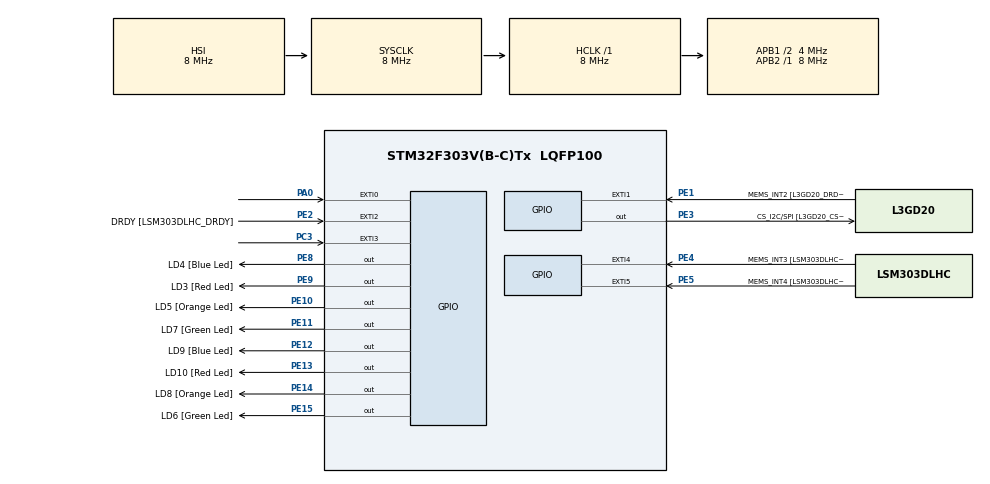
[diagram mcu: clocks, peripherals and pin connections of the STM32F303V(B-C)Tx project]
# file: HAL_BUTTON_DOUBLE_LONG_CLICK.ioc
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Mcu.Family=STM32F3
Mcu.Name=STM32F303V(B-C)Tx
Mcu.Package=LQFP100
NVIC.EXTI0_IRQn=true\:0\:1\:false\:false\:true\:true\:true\:true
NVIC.EXTI3_IRQn=true\:0\:0\:false\:false\:true\:true\:true\:true
NVIC.PriorityGroup=NVIC_PRIORITYGROUP_0
NVIC.TIM2_IRQn=true\:0\:3\:true\:false\:true\:true\:true\:true
NVIC.TIM4_IRQn=true\:0\:2\:false\:false\:true\:true\:true\:true
PA0.GPIO_PuPd=GPIO_NOPULL
PA0.Signal=GPXTI0
PA11.GPIO_Label=DM
PA11.Signal=USB_DM
PA12.GPIO_Label=DP
PA12.Signal=USB_DP
PA13.GPIO_Label=SWDIO
PA13.Signal=SYS_JTMS-SWDIO
PA14.GPIO_Label=SWCLK
PA14.Signal=SYS_JTCK-SWCLK
PA5.GPIO_Label=SPI1_SCK [L3GD20_SCL/SPC]
PA5.GPIO_Mode=GPIO_MODE_AF_PP
PA5.GPIO_PuPd=GPIO_NOPULL
PA5.GPIO_Speed=GPIO_SPEED_FREQ_LOW
PA5.Signal=SPI1_SCK
PA6.GPIO_Label=SPI1_MISO [L3GD20_SA0/SDO]
PA6.GPIO_Mode=GPIO_MODE_AF_PP
PA6.GPIO_PuPd=GPIO_NOPULL
PA6.GPIO_Speed=GPIO_SPEED_FREQ_LOW
PA6.Signal=SPI1_MISO
PA7.GPIO_Label=SPI1_MISO [L3GD20_SDA/SDI/SDO]
PA7.GPIO_Mode=GPIO_MODE_AF_PP
PA7.GPIO_PuPd=GPIO_NOPULL
PA7.GPIO_Speed=GPIO_SPEED_FREQ_LOW
PA7.Signal=SPI1_MOSI
PB3.GPIO_Label=SWO
PB3.Signal=SYS_JTDO-TRACESWO
PB6.GPIO_FM6=__NULL
PB6.GPIO_Label=I2C1_SCL [LSM303DLHC_SCL]
PB6.GPIO_Mode=GPIO_MODE_AF_OD
PB6.GPIO_PuPd=GPIO_NOPULL
PB6.GPIO_Speed=GPIO_SPEED_FREQ_LOW
PB6.Signal=I2C1_SCL
PB7.GPIO_FM7=__NULL
PB7.GPIO_Label=I2C1_SDA [LSM303DLHC_SDA]
PB7.GPIO_Mode=GPIO_MODE_AF_OD
PB7.GPIO_PuPd=GPIO_NOPULL
PB7.GPIO_Speed=GPIO_SPEED_FREQ_LOW
PB7.Signal=I2C1_SDA
PC14-OSC32_IN.GPIO_Label=OSC32_IN
PC14-OSC32_IN.Signal=RCC_OSC32_IN
PC15-OSC32_OUT.GPIO_Label=OSC32_OUT
PC15-OSC32_OUT.Signal=RCC_OSC32_OUT
PC3.Signal=GPXTI3
PE1.GPIO_Label=MEMS_INT2 [L3GD20_DRDY/INT2]
PE1.GPIO_ModeDefaultEXTI=GPIO_MODE_EVT_RISING
PE1.GPIO_PuPd=GPIO_NOPULL
PE1.Signal=GPXTI1
PE10.GPIO_Label=LD5 [Orange Led]
PE10.GPIO_ModeDefaultOutputPP=GPIO_MODE_OUTPUT_PP
PE10.GPIO_PuPd=GPIO_NOPULL
PE10.GPIO_Speed=GPIO_SPEED_FREQ_LOW
PE10.Signal=GPIO_Output
PE11.GPIO_Label=LD7 [Green Led]
PE11.GPIO_ModeDefaultOutputPP=GPIO_MODE_OUTPUT_PP
PE11.GPIO_PuPd=GPIO_NOPULL
PE11.GPIO_Speed=GPIO_SPEED_FREQ_LOW
PE11.Signal=GPIO_Output
PE12.GPIO_Label=LD9 [Blue Led]
PE12.GPIO_ModeDefaultOutputPP=GPIO_MODE_OUTPUT_PP
PE12.GPIO_PuPd=GPIO_NOPULL
PE12.GPIO_Speed=GPIO_SPEED_FREQ_LOW
PE12.Signal=GPIO_Output
PE13.GPIO_Label=LD10 [Red Led]
PE13.GPIO_ModeDefaultOutputPP=GPIO_MODE_OUTPUT_PP
PE13.GPIO_PuPd=GPIO_NOPULL
PE13.GPIO_Speed=GPIO_SPEED_FREQ_LOW
PE13.Signal=GPIO_Output
PE14.GPIO_Label=LD8 [Orange Led]
PE14.GPIO_ModeDefaultOutputPP=GPIO_MODE_OUTPUT_PP
PE14.GPIO_PuPd=GPIO_NOPULL
PE14.GPIO_Speed=GPIO_SPEED_FREQ_LOW
PE14.Signal=GPIO_Output
PE15.GPIO_Label=LD6 [Green Led]
PE15.GPIO_ModeDefaultOutputPP=GPIO_MODE_OUTPUT_PP
PE15.GPIO_PuPd=GPIO_NOPULL
PE15.GPIO_Speed=GPIO_SPEED_FREQ_LOW
PE15.Signal=GPIO_Output
PE2.GPIO_Label=DRDY [LSM303DLHC_DRDY]
PE2.GPIO_ModeDefaultEXTI=GPIO_MODE_EVT_RISING
PE2.GPIO_PuPd=GPIO_NOPULL
PE2.Signal=GPXTI2
PE3.GPIO_Label=CS_I2C/SPI [L3GD20_CS_I2C/SPI]
PE3.GPIO_ModeDefaultOutputPP=GPIO_MODE_OUTPUT_PP
PE3.GPIO_PuPd=GPIO_NOPULL
PE3.GPIO_Speed=GPIO_SPEED_FREQ_LOW
PE3.Signal=GPIO_Output
PE4.GPIO_Label=MEMS_INT3 [LSM303DLHC_INT1]
PE4.GPIO_ModeDefaultEXTI=GPIO_MODE_EVT_RISING
PE4.GPIO_PuPd=GPIO_NOPULL
PE4.Signal=GPXTI4
PE5.GPIO_Label=MEMS_INT4 [LSM303DLHC_INT2]
PE5.GPIO_ModeDefaultEXTI=GPIO_MODE_EVT_RISING
PE5.GPIO_PuPd=GPIO_NOPULL
PE5.Signal=GPXTI5
PE8.GPIO_Label=LD4 [Blue Led]
PE8.GPIO_ModeDefaultOutputPP=GPIO_MODE_OUTPUT_PP
PE8.GPIO_PuPd=GPIO_NOPULL
PE8.GPIO_Speed=GPIO_SPEED_FREQ_LOW
PE8.Signal=GPIO_Output
PE9.GPIO_Label=LD3 [Red Led]
PE9.GPIO_ModeDefaultOutputPP=GPIO_MODE_OUTPUT_PP
PE9.GPIO_PuPd=GPIO_NOPULL
PE9.GPIO_Speed=GPIO_SPEED_FREQ_LOW
PE9.Signal=GPIO_Output
PF0-OSC_IN.GPIO_Label=OSC_IN
PF0-OSC_IN.Signal=RCC_OSC_IN
PF1-OSC_OUT.GPIO_Label=OSC_OUT
PF1-OSC_OUT.Signal=RCC_OSC_OUT
ProjectManager.HeapSize=0x200
ProjectManager.StackSize=0x400
ProjectManager.TargetToolchain=STM32CubeIDE
RCC.AHBFreq_Value=8000000
RCC.APB1CLKDivider=RCC_HCLK_DIV2
RCC.APB1Freq_Value=4000000
RCC.APB1TimFreq_Value=8000000
RCC.APB2Freq_Value=8000000
RCC.APB2TimFreq_Value=8000000
RCC.CortexFreq_Value=8000000
RCC.HCLKFreq_Value=8000000
RCC.HSE_VALUE=8000000
RCC.HSI_VALUE=8000000
RCC.LSE_VALUE=32768
RCC.PLLMUL=RCC_PLL_MUL12
RCC.SYSCLKFreq_VALUE=8000000
RCC.USBFreq_Value=48000000
TIM2.AutoReloadPreload=TIM_AUTORELOAD_PRELOAD_ENABLE
TIM2.Channel-Output\ Compare2\ No\ Output=TIM_CHANNEL_2
TIM2.OC2Preload=ENABLE
TIM2.OCMode_2=TIM_OCMODE_TOGGLE
TIM2.Period=1000
TIM2.Prescaler=8000
TIM2.Pulse-Output\ Compare2\ No\ Output=500
TIM2.TIM_MasterOutputTrigger=TIM_TRGO_RESET
TIM2.TIM_MasterSlaveMode=TIM_MASTERSLAVEMODE_DISABLE
TIM4.AutoReloadPreload=TIM_AUTORELOAD_PRELOAD_ENABLE
TIM4.Period=200
TIM4.Prescaler=8000
VP_TIM2_VS_ClockSourceINT.Mode=Internal
VP_TIM2_VS_OPM.Mode=OPM_bit
VP_TIM2_VS_no_output2.Mode=Output Compare2 No Output
VP_TIM4_VS_ClockSourceINT.Mode=Internal
board=STM32F3DISCOVERY

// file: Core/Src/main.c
/* USER CODE BEGIN Header */
/**
  ******************************************************************************
  * @file           : main.c
  * @brief          : Main program body
  ******************************************************************************
  * @attention
  *
  * Copyright (c) 2024 STMicroelectronics.
  * All rights reserved.
  *
  * This software is licensed under terms that can be found in the LICENSE file
  * in the root directory of this software component.
  * If no LICENSE file comes with this software, it is provided AS-IS.
  *
  ******************************************************************************
  */
/* USER CODE END Header */
#include "main.h"

TIM_HandleTypeDef htim2;
TIM_HandleTypeDef htim4;

void SystemClock_Config(void);
static void MX_GPIO_Init(void);
static void MX_TIM2_Init(void);
static void MX_TIM4_Init(void);

/* USER CODE BEGIN 0 */
enum push_states
{
	not_clicked,
	short_click,
	long_press,
	double_click
};

uint8_t BUTTON_CLICKS = 0;
uint8_t push_state = not_clicked;

/* USER CODE END 0 */

int main(void)
{

  /* MCU Configuration--------------------------------------------------------*/

  /* Reset of all peripherals, Initializes the Flash interface and the Systick. */
  HAL_Init();

  /* Configure the system clock */
  SystemClock_Config();

  /* Initialize all configured peripherals */
  MX_GPIO_Init();
  MX_TIM2_Init();
  MX_TIM4_Init();
  /* USER CODE BEGIN 2 */

  HAL_TIM_Base_Start_IT(&htim4);
  HAL_TIM_Base_Start_IT(&htim2);
  /* USER CODE END 2 */

  /* Infinite loop */
  while (1)
  {

  }
}

void SystemClock_Config(void)
{
  RCC_OscInitTypeDef RCC_OscInitStruct = {0};
  RCC_ClkInitTypeDef RCC_ClkInitStruct = {0};

  /** Initializes the RCC Oscillators according to the specified parameters
  * in the RCC_OscInitTypeDef structure.
  */
  RCC_OscInitStruct.OscillatorType = RCC_OSCILLATORTYPE_HSI;
  RCC_OscInitStruct.HSIState = RCC_HSI_ON;
  RCC_OscInitStruct.HSICalibrationValue = RCC_HSICALIBRATION_DEFAULT;
  RCC_OscInitStruct.PLL.PLLState = RCC_PLL_NONE;
  if (HAL_RCC_OscConfig(&RCC_OscInitStruct) != HAL_OK)
  {
    Error_Handler();
  }

  /** Initializes the CPU, AHB and APB buses clocks
  */
  RCC_ClkInitStruct.ClockType = RCC_CLOCKTYPE_HCLK|RCC_CLOCKTYPE_SYSCLK
                              |RCC_CLOCKTYPE_PCLK1|RCC_CLOCKTYPE_PCLK2;
  RCC_ClkInitStruct.SYSCLKSource = RCC_SYSCLKSOURCE_HSI;
  RCC_ClkInitStruct.AHBCLKDivider = RCC_SYSCLK_DIV1;
  RCC_ClkInitStruct.APB1CLKDivider = RCC_HCLK_DIV2;
  RCC_ClkInitStruct.APB2CLKDivider = RCC_HCLK_DIV1;

  if (HAL_RCC_ClockConfig(&RCC_ClkInitStruct, FLASH_LATENCY_0) != HAL_OK)
  {
    Error_Handler();
  }
}

static void MX_TIM2_Init(void)
{

  TIM_ClockConfigTypeDef sClockSourceConfig = {0};
  TIM_MasterConfigTypeDef sMasterConfig = {0};
  TIM_OC_InitTypeDef sConfigOC = {0};

  htim2.Instance = TIM2;
  htim2.Init.Prescaler = 8000;
  htim2.Init.CounterMode = TIM_COUNTERMODE_UP;
  htim2.Init.Period = 1000;
  htim2.Init.ClockDivision = TIM_CLOCKDIVISION_DIV1;
  htim2.Init.AutoReloadPreload = TIM_AUTORELOAD_PRELOAD_ENABLE;
  if (HAL_TIM_Base_Init(&htim2) != HAL_OK)
  {
    Error_Handler();
  }
  sClockSourceConfig.ClockSource = TIM_CLOCKSOURCE_INTERNAL;
  if (HAL_TIM_ConfigClockSource(&htim2, &sClockSourceConfig) != HAL_OK)
  {
    Error_Handler();
  }
  if (HAL_TIM_OC_Init(&htim2) != HAL_OK)
  {
    Error_Handler();
  }
  if (HAL_TIM_OnePulse_Init(&htim2, TIM_OPMODE_SINGLE) != HAL_OK)
  {
    Error_Handler();
  }
  sMasterConfig.MasterOutputTrigger = TIM_TRGO_RESET;
  sMasterConfig.MasterSlaveMode = TIM_MASTERSLAVEMODE_DISABLE;
  if (HAL_TIMEx_MasterConfigSynchronization(&htim2, &sMasterConfig) != HAL_OK)
  {
    Error_Handler();
  }
  sConfigOC.OCMode = TIM_OCMODE_TOGGLE;
  sConfigOC.Pulse = 500;
  sConfigOC.OCPolarity = TIM_OCPOLARITY_HIGH;
  sConfigOC.OCFastMode = TIM_OCFAST_DISABLE;
  if (HAL_TIM_OC_ConfigChannel(&htim2, &sConfigOC, TIM_CHANNEL_2) != HAL_OK)
  {
    Error_Handler();
  }
  __HAL_TIM_ENABLE_OCxPRELOAD(&htim2, TIM_CHANNEL_2);

}

static void MX_TIM4_Init(void)
{

  TIM_ClockConfigTypeDef sClockSourceConfig = {0};
  TIM_MasterConfigTypeDef sMasterConfig = {0};

  htim4.Instance = TIM4;
  htim4.Init.Prescaler = 8000;
  htim4.Init.CounterMode = TIM_COUNTERMODE_UP;
  htim4.Init.Period = 200;
  htim4.Init.ClockDivision = TIM_CLOCKDIVISION_DIV1;
  htim4.Init.AutoReloadPreload = TIM_AUTORELOAD_PRELOAD_ENABLE;
  if (HAL_TIM_Base_Init(&htim4) != HAL_OK)
  {
    Error_Handler();
  }
  sClockSourceConfig.ClockSource = TIM_CLOCKSOURCE_INTERNAL;
  if (HAL_TIM_ConfigClockSource(&htim4, &sClockSourceConfig) != HAL_OK)
  {
    Error_Handler();
  }
  sMasterConfig.MasterOutputTrigger = TIM_TRGO_RESET;
  sMasterConfig.MasterSlaveMode = TIM_MASTERSLAVEMODE_DISABLE;
  if (HAL_TIMEx_MasterConfigSynchronization(&htim4, &sMasterConfig) != HAL_OK)
  {
    Error_Handler();
  }

}

static void MX_GPIO_Init(void)
{
  GPIO_InitTypeDef GPIO_InitStruct = {0};

  /* GPIO Ports Clock Enable */
  __HAL_RCC_GPIOE_CLK_ENABLE();
  __HAL_RCC_GPIOC_CLK_ENABLE();
  __HAL_RCC_GPIOF_CLK_ENABLE();
  __HAL_RCC_GPIOA_CLK_ENABLE();
  __HAL_RCC_GPIOB_CLK_ENABLE();

  /*Configure GPIO pin Output Level */
  HAL_GPIO_WritePin(GPIOE, CS_I2C_SPI_Pin|LD4_Pin|LD3_Pin|LD5_Pin
                          |LD7_Pin|LD9_Pin|LD10_Pin|LD8_Pin
                          |LD6_Pin, GPIO_PIN_RESET);

  /*Configure GPIO pins : DRDY_Pin MEMS_INT3_Pin MEMS_INT4_Pin MEMS_INT2_Pin */
  GPIO_InitStruct.Pin = DRDY_Pin|MEMS_INT3_Pin|MEMS_INT4_Pin|MEMS_INT2_Pin;
  GPIO_InitStruct.Mode = GPIO_MODE_EVT_RISING;
  GPIO_InitStruct.Pull = GPIO_NOPULL;
  HAL_GPIO_Init(GPIOE, &GPIO_InitStruct);

  /*Configure GPIO pins : CS_I2C_SPI_Pin LD4_Pin LD3_Pin LD5_Pin
                           LD7_Pin LD9_Pin LD10_Pin LD8_Pin
                           LD6_Pin */
  GPIO_InitStruct.Pin = CS_I2C_SPI_Pin|LD4_Pin|LD3_Pin|LD5_Pin
                          |LD7_Pin|LD9_Pin|LD10_Pin|LD8_Pin
                          |LD6_Pin;
  GPIO_InitStruct.Mode = GPIO_MODE_OUTPUT_PP;
  GPIO_InitStruct.Pull = GPIO_NOPULL;
  GPIO_InitStruct.Speed = GPIO_SPEED_FREQ_LOW;
  HAL_GPIO_Init(GPIOE, &GPIO_InitStruct);

  /*Configure GPIO pin : PC3 */
  GPIO_InitStruct.Pin = GPIO_PIN_3;
  GPIO_InitStruct.Mode = GPIO_MODE_IT_RISING;
  GPIO_InitStruct.Pull = GPIO_NOPULL;
  HAL_GPIO_Init(GPIOC, &GPIO_InitStruct);

  /*Configure GPIO pin : PA0 */
  GPIO_InitStruct.Pin = GPIO_PIN_0;
  GPIO_InitStruct.Mode = GPIO_MODE_IT_RISING;
  GPIO_InitStruct.Pull = GPIO_NOPULL;
  HAL_GPIO_Init(GPIOA, &GPIO_InitStruct);

  /*Configure GPIO pins : SPI1_SCK_Pin SPI1_MISO_Pin SPI1_MISOA7_Pin */
  GPIO_InitStruct.Pin = SPI1_SCK_Pin|SPI1_MISO_Pin|SPI1_MISOA7_Pin;
  GPIO_InitStruct.Mode = GPIO_MODE_AF_PP;
  GPIO_InitStruct.Pull = GPIO_NOPULL;
  GPIO_InitStruct.Speed = GPIO_SPEED_FREQ_LOW;
  GPIO_InitStruct.Alternate = GPIO_AF5_SPI1;
  HAL_GPIO_Init(GPIOA, &GPIO_InitStruct);

  /*Configure GPIO pins : DM_Pin DP_Pin */
  GPIO_InitStruct.Pin = DM_Pin|DP_Pin;
  GPIO_InitStruct.Mode = GPIO_MODE_AF_PP;
  GPIO_InitStruct.Pull = GPIO_NOPULL;
  GPIO_InitStruct.Speed = GPIO_SPEED_FREQ_HIGH;
  GPIO_InitStruct.Alternate = GPIO_AF14_USB;
  HAL_GPIO_Init(GPIOA, &GPIO_InitStruct);

  /*Configure GPIO pins : I2C1_SCL_Pin I2C1_SDA_Pin */
  GPIO_InitStruct.Pin = I2C1_SCL_Pin|I2C1_SDA_Pin;
  GPIO_InitStruct.Mode = GPIO_MODE_AF_OD;
  GPIO_InitStruct.Pull = GPIO_NOPULL;
  GPIO_InitStruct.Speed = GPIO_SPEED_FREQ_LOW;
  GPIO_InitStruct.Alternate = GPIO_AF4_I2C1;
  HAL_GPIO_Init(GPIOB, &GPIO_InitStruct);

  /* EXTI interrupt init*/
  HAL_NVIC_SetPriority(EXTI0_IRQn, 0, 1);
  HAL_NVIC_EnableIRQ(EXTI0_IRQn);

  HAL_NVIC_SetPriority(EXTI3_IRQn, 0, 0);
  HAL_NVIC_EnableIRQ(EXTI3_IRQn);

}

/* USER CODE BEGIN 4 */
void HAL_TIM_PeriodElapsedCallback(TIM_HandleTypeDef *htim)
{

	if(htim == &htim2)
	{
		if(BUTTON_CLICKS == 1)
		{
			if(HAL_GPIO_ReadPin(GPIOA, GPIO_PIN_0) == GPIO_PIN_SET) push_state = long_press;
			else push_state = short_click;

		}else if(BUTTON_CLICKS == 2)
		{
			push_state = double_click;
		}
	}

	if(htim == &htim4)
	{
	  if(push_state == long_press)
	  {
		  HAL_GPIO_WritePin(GPIOE, GPIO_PIN_10, DISABLE);
		  HAL_GPIO_WritePin(GPIOE, GPIO_PIN_8, DISABLE);
		  HAL_GPIO_TogglePin(GPIOE, GPIO_PIN_15);
	  }
	  if(push_state == short_click)
	  {
		  HAL_GPIO_WritePin(GPIOE, GPIO_PIN_15, DISABLE);
		  HAL_GPIO_WritePin(GPIOE, GPIO_PIN_8, DISABLE);
		  HAL_GPIO_TogglePin(GPIOE, GPIO_PIN_10);
	  }
	  if(push_state == double_click)
	  {
		  HAL_GPIO_WritePin(GPIOE, GPIO_PIN_15, DISABLE);
		  HAL_GPIO_WritePin(GPIOE, GPIO_PIN_10, DISABLE);
		  HAL_GPIO_TogglePin(GPIOE, GPIO_PIN_8);
	  }
	}
}

void HAL_TIM_OC_DelayElapsedCallback(TIM_HandleTypeDef *htim)
{
	if(htim == &htim2)
		{

				if(HAL_GPIO_ReadPin(GPIOA, GPIO_PIN_0))
				{
					push_state = long_press;
				}else
				{
					push_state = short_click;
				}
		}
}

void HAL_GPIO_EXTI_Callback(uint16_t GPIO_Pin)
{
	//IF TIMER RUNNING
	if(htim2.Instance->CR1 & (1<<0))
	{
		BUTTON_CLICKS++;
	}else
	{
		BUTTON_CLICKS = 1;
		htim2.Instance->CR1 |= (1<<0);
	}
}
/* USER CODE END 4 */

void Error_Handler(void)
{
  __disable_irq();
  while (1)
  {
  }
}
